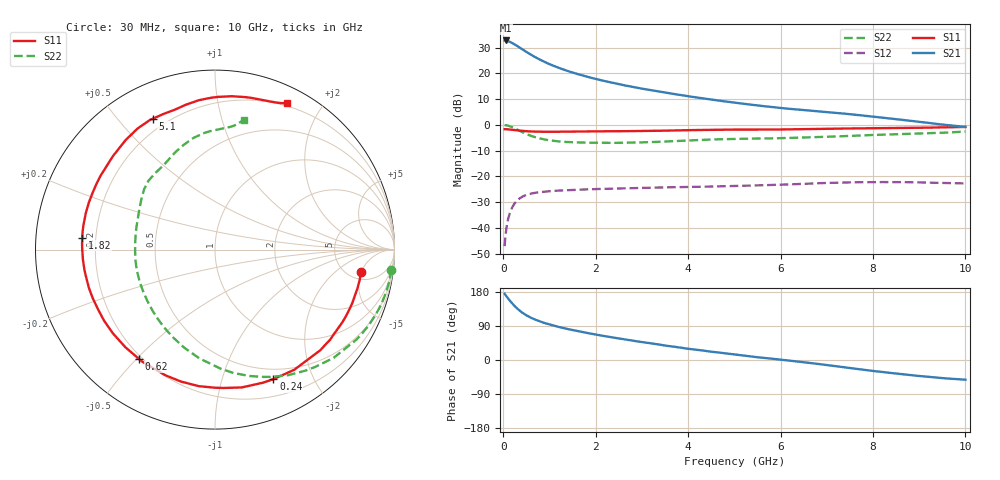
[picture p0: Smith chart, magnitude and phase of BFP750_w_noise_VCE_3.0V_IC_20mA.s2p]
! Infineon Technologies  Discrete & RF Semiconductors
! BFP750
! VCE =  3.0 V,  IC =  20 mA
! Common Emitter S-Parameters:  Jan 2016
# GHz  S  MA  R  50
!  f  S11  S21  S12  S22
! GHz  MAG  ANG  MAG  ANG  MAG  ANG  MAG  ANG
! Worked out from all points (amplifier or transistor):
!   229 points, 30 MHz to 10 GHz, reference 50 ohm
!   highest |S21| = 32.7 dB at 50 MHz (marker M1)
!   |S21| within 3 dB of that: start of sweep to 376.2 MHz
!   unconditionally stable (mu >= 1): 4.803 GHz to end of sweep
!   at 280 MHz: K = 0.11, MSG = 30.3 dB, |S12| = -29.8 dB
!   at 1.78 GHz: K = 0.51, MSG = 22.0 dB, |S12| = -25.1 dB
!   at 10 GHz: K = 1.09, MAG = 9.2 dB, |S12| = -22.8 dB
!   lowest NFmin = 0.73 dB at 450 MHz
!   S11 on the Smith chart (normalised r, x): 30 MHz: 6.31, -4.99; 240 MHz: 0.38, -1.48; 620 MHz: 0.19, -0.51; 1.82 GHz: 0.15, +0.04; 5.1 GHz: 0.15, +0.62; 10 GHz: 0.17, +1.59
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0.03  0.8232 -8.9  43.3 174.8  0.0044 83.1  0.9885 -6.5
0.05  0.8225 -15.2  43.4 171.0  0.0072 82.1  0.9862 -11.0
0.08  0.8196 -24.0  42.84 166.6  0.0114 77.5  0.9757 -17.7
0.12  0.8126 -35.3  41.59 160.0  0.0165 72.1  0.9544 -26.3
0.15  0.8116 -43.6  40.62 155.5  0.0201 68.0  0.9339 -32.5
0.2  0.802 -56.6  38.55 148.2  0.0255 61.8  0.8947 -42.4
0.24  0.7919 -65.7  36.75 143.2  0.0292 57.3  0.8592 -49.6
0.3  0.7823 -79.0  34.1 135.9  0.0339 51.3  0.8093 -59.9
0.4  0.7661 -96.9  29.76 126.0  0.0396 43.1  0.7297 -74.8
0.5  0.753 -111.4  26.03 118.0  0.0435 37.0  0.6637 -87.4
0.62  0.7416 -124.9  22.38 110.5  0.0465 31.3  0.6024 -100.1
0.8  0.7357 -140.6  18.27 101.4  0.0494 25.4  0.541 -115.9
1  0.7318 -153.3  15.04 93.6  0.0514 20.9  0.5001 -129.8
1.3  0.7346 -167.5  11.84 84.4  0.0534 16.4  0.4687 -145.7
1.7  0.741 178.3  9.156 74.1  0.0553 12.4  0.4522 -161.6
1.82  0.743 174.8  8.551 71.3  0.0558 11.5  0.4498 -165.6
2.6  0.7515 155.5  5.886 54.8  0.0583 6.5  0.4479 172.3
3.4  0.7668 139.5  4.375 40.2  0.0606 2.6  0.4687 155.7
5.1  0.8073 115.5  2.628 13.2  0.0652 -4.0  0.5345 132.9
6.8  0.8306 98.3  1.832 -10.2  0.0731 -11.7  0.5775 113.9
8.4  0.8659 78.9  1.316 -34.4  0.0772 -24.1  0.652 95.4
10  0.9087 63.8  0.909 -52.0  0.0727 -33.9  0.7404 77.5
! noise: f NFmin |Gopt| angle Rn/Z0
0.45  0.73  0.04  -167  3.69
0.9  0.75  0.07  -173  0.54
1.5  0.76  0.1  -175  0.25
1.9  0.78  0.15  -172  0.1
2.4  0.82  0.16  -169  0.11
3.5  1.07  0.25  -145  0.07
